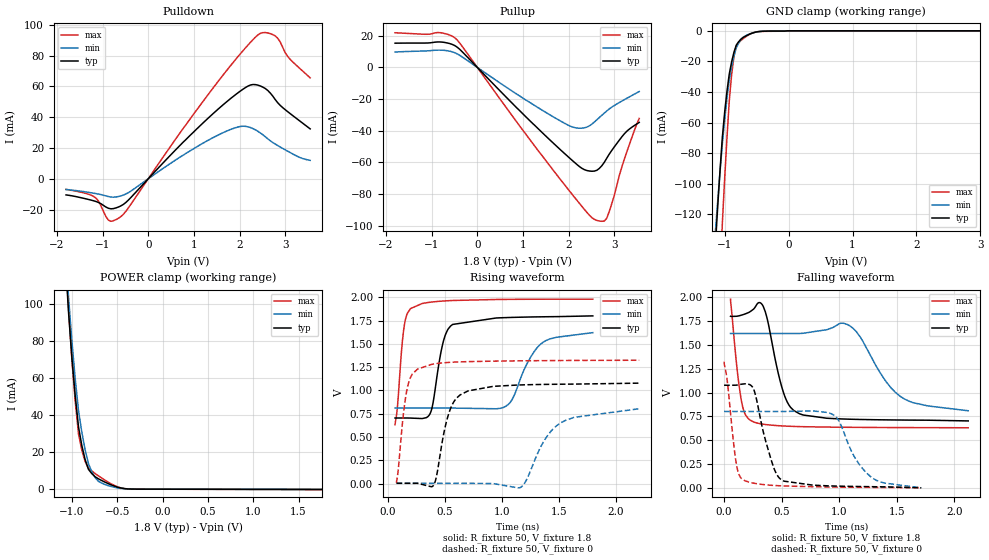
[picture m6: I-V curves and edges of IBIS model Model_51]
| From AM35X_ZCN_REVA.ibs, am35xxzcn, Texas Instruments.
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| Model based on original model for BQ1833DV40DTPBFHP18LL_7LM_X50
|   Sub model LL_7LM_X50_PU_ON_1P8
[model]   Model_51
|[Description]  1.8V-I/O-PU-X
|[Input Load]   PU
|[Output Drive]
|Voltage   1.8V
|Mode   I/O
Model_type   I/O
Polarity   Non-Inverting
Enable   Active-Low
Vinl =  0.63V
Vinh =  1.17V
Cref =  15pF
Rref =  100.0000M
Vref =  0V
Vmeas =  0.9
C_comp   2.258279p   2.108893p   2.320297p
[Model Spec]
Vinl   0.63V   0.567V   0.693V
Vinh   1.17V   1.053V   1.287V
[Temperature Range]   25   125   -40
[Voltage Range]   1.8   1.62   1.98
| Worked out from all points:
|   slope of the pulldown table from 0 to 0.27 V, typ, clamps not added: 31.4 ohm
|   slope of the pullup table from 0 to 0.27 V, typ, clamps not added: 33.4 ohm
|   GND clamp passes 1 mA (typ) near -0.53 V on its own axis
|   POWER clamp passes 1 mA (typ) near -0.49 V on its own axis
|   rising waveform, R_fixture 50, V_fixture 1.8: 20-80 % time 96ps typ, 192ps min, 56.9ps max; typ from 0.703 V to 1.8 V
|   rising waveform, R_fixture 50, V_fixture 0: 20-80 % time 125ps typ, 246ps min, 77ps max; typ from 0.003 V to 1.08 V
|   falling waveform, R_fixture 50, V_fixture 1.8: 20-80 % time 134ps typ, 278ps min, 76.2ps max; typ from 1.8 V to 0.703 V
|   falling waveform, R_fixture 50, V_fixture 0: 20-80 % time 137ps typ, 213ps min, 71.1ps max; typ from 1.08 V to 0.003 V
[POWER_clamp]
-1.8V     842.3mA    869.2mA    912.6mA
-1.073V   123.5mA    130.8mA    128.8mA
-1.036V   94.69mA    102.8mA    96.31mA
-1V       70.7mA     79.63mA    69.41mA
-963.6mV  50.3mA     59.44mA    47.21mA
-927.3mV  33.48mA    42.27mA    29.73mA
-890.9mV  23.56mA    30.73mA    21mA
-818.2mV  10.72mA    13.8mA     11.42mA
-709.1mV  5.624mA    4.312mA    7.236mA
-527.3mV  1.606mA    1.01mA     1.915mA
-381.8mV  142.3uA    117.5uA    127.8uA
1.764V    -143.5uA   -80.17uA   -225.9uA
[Pulldown]
-1.8V     -10.49mA   -6.992mA   -6.878mA
-1.145V   -14.77mA   -9.642mA   -12.54mA
-872.7mV  -19.18mA   -11.58mA   -26.88mA
-600mV    -17.64mA   -11.15mA   -24.61mA
1.636V    48.04mA    29.95mA    67.37mA
2.073V    58.21mA    34.18mA    83.2mA
2.291V    61.28mA    32.65mA    90.41mA
2.455V    60.33mA    29.78mA    94.55mA
2.618V    57.37mA    25.94mA    94.82mA
2.782V    51.43mA    22.55mA    92.84mA
3.055V    43.59mA    17.92mA    79.47mA
3.545V    32.43mA    11.97mA    65.61mA
[Pullup]
-1.8V     15.27mA    9.71mA     21.85mA
-818.2mV  16.05mA    10.88mA    21.94mA
-490.9mV  13.72mA    9.223mA    18.66mA
1.036V    -30.45mA   -20.11mA   -41.15mA
2.018V    -57.22mA   -36.91mA   -78.08mA
2.345V    -64.63mA   -38.19mA   -89.73mA
2.618V    -65.01mA   -33.11mA   -96.69mA
2.782V    -59.96mA   -28.87mA   -97.07mA
2.836V    -57.32mA   -27.51mA   -95.25mA
3V        -50.25mA   -24.09mA   -80.87mA
3.218V    -42.03mA   -20.43mA   -58.16mA
3.545V    -34.78mA   -15.26mA   -32.29mA
[GND_clamp]
-1.8V     -697.8mA   -553.3mA   -1.259A
-1.145V   -140.7mA   -131.7mA   -248.4mA
-1.109V   -115.2mA   -111.7mA   -203.4mA
-1.036V   -69.7mA    -74.11mA   -126mA
-1V       -53.27mA   -58.3mA    -96.66mA
-927.3mV  -28.09mA   -31.91mA   -45.55mA
-890.9mV  -20.27mA   -23.39mA   -28.66mA
-854.5mV  -14.02mA   -16.45mA   -16.77mA
-818.2mV  -9.337mA   -11.08mA   -9.893mA
-672.7mV  -3.466mA   -3.226mA   -3.973mA
-18.18mV  0A         0A         0A
3.6V      0A         0A         0A
[Ramp]
dV/dt_f 0.74322799/0.14126105n 0.55025203/0.29314368n 0.90205253/80.90041p
dV/dt_r 0.66807245/0.12557404n 0.50966594/0.24636347n 0.81085041/77.399484p
R_load = 50
[Rising Waveform]
R_fixture = 50
V_fixture = 1.8
V_fixture_min = 1.62
V_fixture_max = 1.98
65.02ps   703.3mV    810mV      631.5mV
86.37ps   703.3mV    810mV      831.6mV
137.9ps   703.4mV    810mV      1.623V
200ps     702.7mV    810mV      1.878V
373.8ps   756mV      810mV      1.947V
487.8ps   1.525V     810mV      1.96V
569.2ps   1.708V     810mV      1.965V
1.037ns   1.782V     831.3mV    1.977V
1.337ns   1.79V      1.494V     1.979V
1.796ns   1.8V       1.62V      1.98V
[Rising Waveform]
R_fixture = 50
V_fixture = 0
V_fixture_min = 0
V_fixture_max = 0
78.17ps   2.802mV    1.768mV    3.967mV
166.4ps   2.838mV    1.768mV    988.5mV
261.1ps   2.523mV    1.769mV    1.228V
405ps     -13.97mV   1.761mV    1.283V
547.9ps   796.3mV    1.768mV    1.301V
703.9ps   994.4mV    1.789mV    1.309V
1.159ns   1.058V     -43.89mV   1.318V
1.372ns   1.064V     463.6mV    1.32V
1.513ns   1.066V     649.1mV    1.321V
2.202ns   1.078V     802.6mV    1.324V
[Falling Waveform]
R_fixture = 50
V_fixture = 1.8
V_fixture_min = 1.62
V_fixture_max = 1.98
56.22ps   1.8V       1.62V      1.98V
142.1ps   1.809V     1.62V      975.5mV
175ps     1.821V     1.62V      797.2mV
223.7ps   1.846V     1.62V      714mV
340.5ps   1.903V     1.62V      669mV
515.8ps   1.002V     1.62V      650.3mV
656.8ps   777.6mV    1.62V      643.8mV
1.066ns   722.3mV    1.716V     636.8mV
1.531ns   712.9mV    960.7mV    633.7mV
2.121ns   703.3mV    810mV      631.5mV
[Falling Waveform]
R_fixture = 50
V_fixture = 0
V_fixture_min = 0
V_fixture_max = 0
0s        1.078V     802.6mV    1.324V
28.99ps   1.077V     802.6mV    1.108V
100.7ps   1.078V     802.6mV    299.7mV
152.8ps   1.089V     802.6mV    97.78mV
258ps     1.033V     802.6mV    50.88mV
408.1ps   299mV      802.6mV    29.03mV
495.9ps   88.26mV    802.4mV    22.85mV
940.1ps   21.67mV    773.3mV    10.56mV
1.27ns    14.18mV    122.8mV    6.619mV
1.713ns   2.802mV    1.768mV    3.967mV
